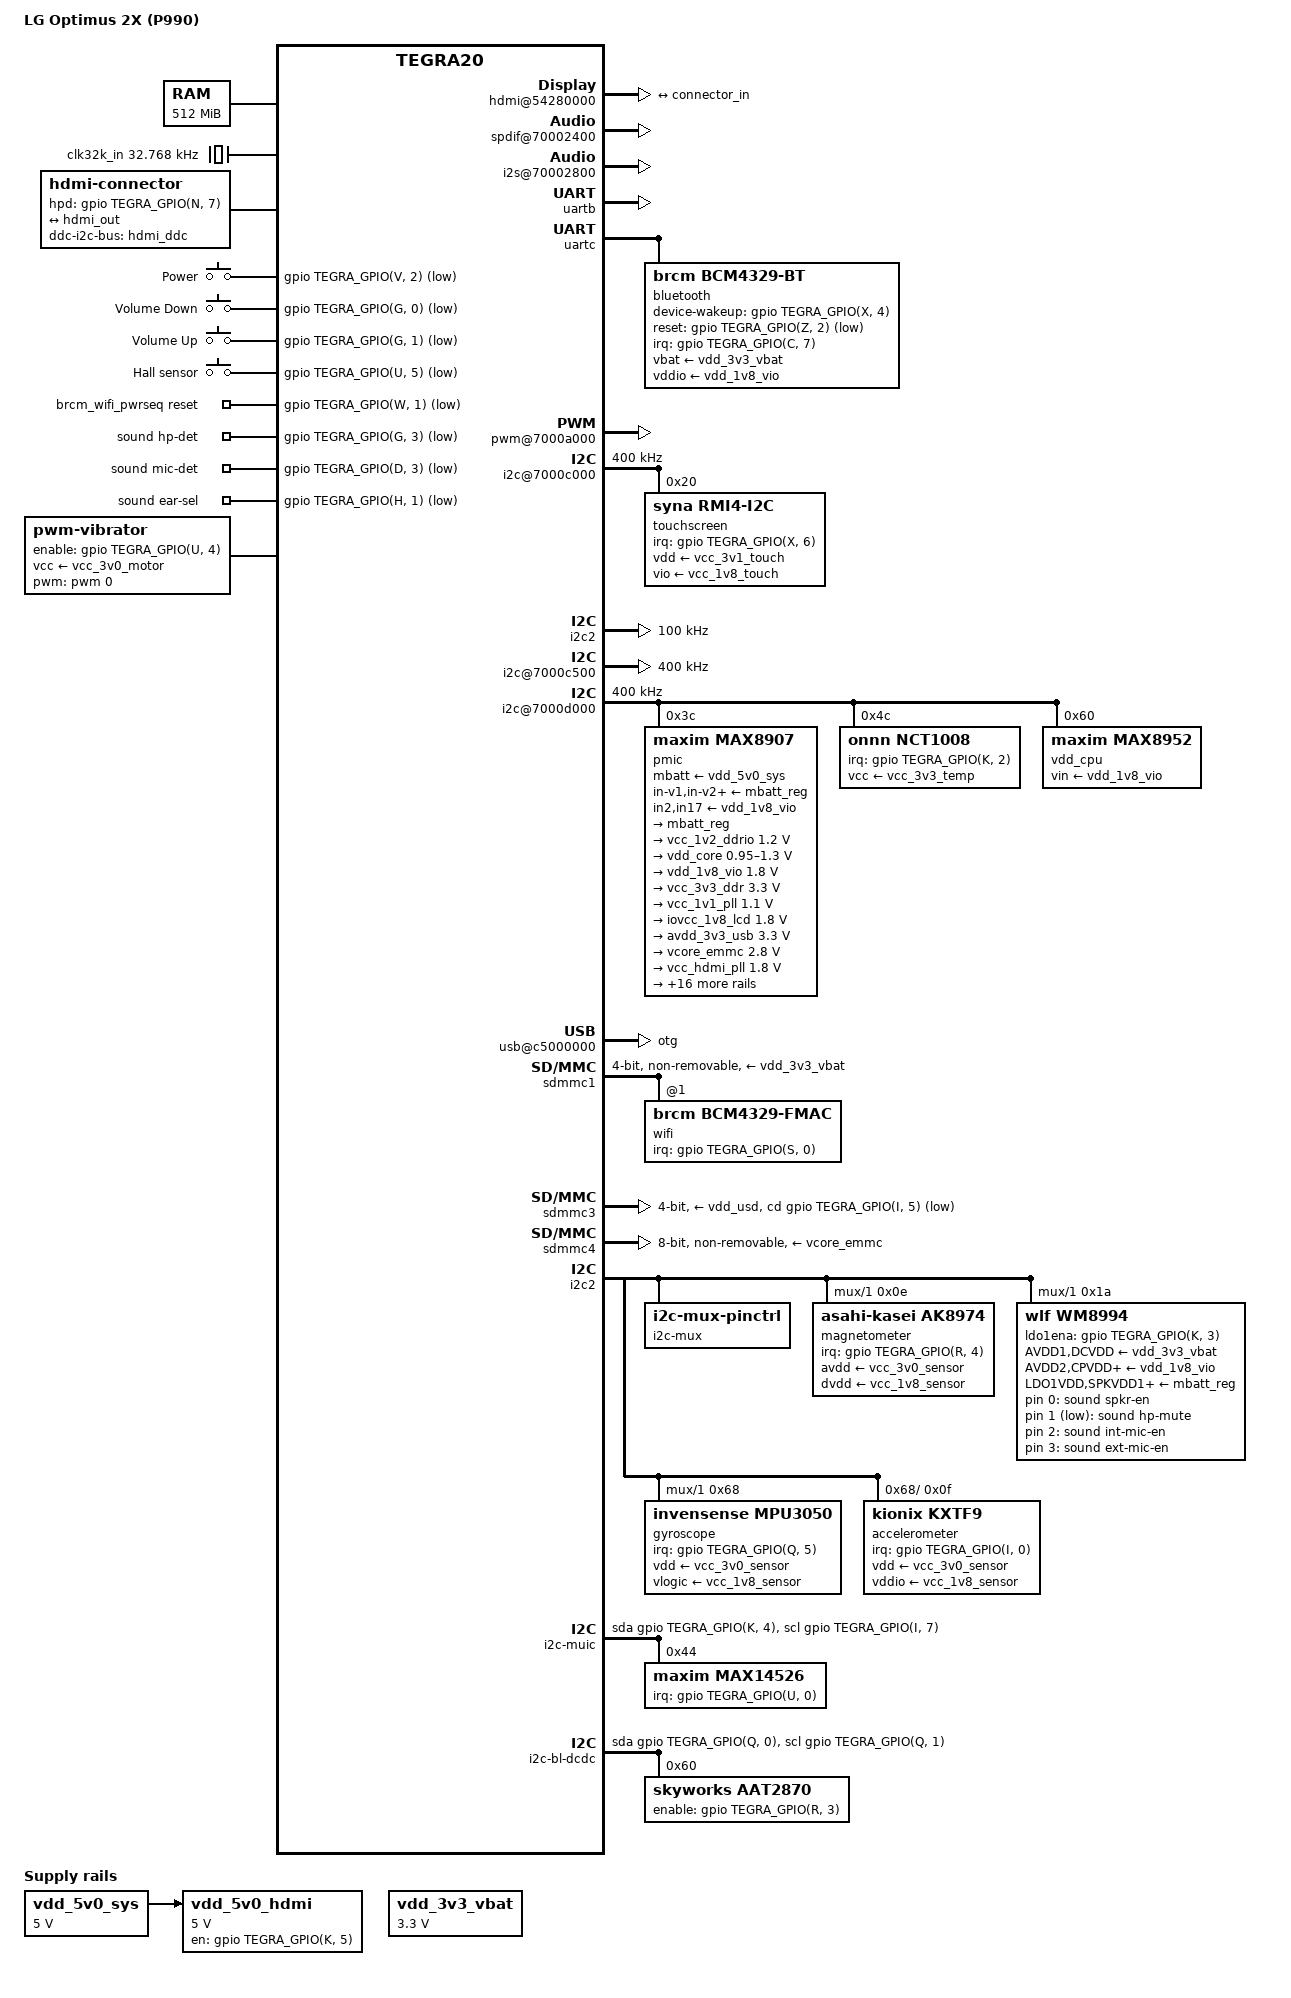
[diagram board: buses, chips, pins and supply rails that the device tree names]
// SPDX-License-Identifier: GPL-2.0
/dts-v1/;

#include <dt-bindings/input/gpio-keys.h>
#include <dt-bindings/input/input.h>
#include <dt-bindings/thermal/thermal.h>

#include "tegra20.dtsi"
#include "tegra20-cpu-opp.dtsi"
#include "tegra20-cpu-opp-microvolt.dtsi"

/ {
	model = "LG Optimus 2X (P990)";
	compatible = "lg,star", "nvidia,tegra20";
	chassis-type = "handset";

	aliases {
		mmc0 = &sdmmc4;	/* eMMC */
		mmc1 = &sdmmc3; /* uSD slot */
		mmc2 = &sdmmc1; /* Wi-Fi */

		rtc0 = &pmic;
		rtc1 = "/rtc@7000e000";

		serial0 = &uartb; /* Console */
		serial1 = &uartc; /* Bluetooth */
	};

	chosen {
		stdout-path = "serial0:115200n8";

		#address-cells = <1>;
		#size-cells = <1>;

		framebuffer@1f800000 {
			compatible = "simple-framebuffer";
//			reg = <0x1f800000 0x7d0000>;
			memory-region = <&framebuffer_zone>;
			width = <480>;
			height = <800>;
			stride = <(480 * 2)>;
			format = "r5g6b5";
			clocks = <&tegra_car TEGRA20_CLK_DISP1>;
		};
	};

	memory@0 {
		reg = <0x00000000 0x20000000>; /* 512 MB */
	};

	reserved-memory {
		#address-cells = <1>;
		#size-cells = <1>;
		ranges;

		linux,cma@0 {
			compatible = "shared-dma-pool";
			alloc-ranges = <0x00000000 0x10000000>;
			size = <0x8000000>; /* 128MiB */
			linux,cma-default;
			reusable;
		};

		framebuffer_zone: framebuffer@1f800000 {
			reg = <0x1f800000 0x7d0000>;
			no-map;
		};
	};

	host1x@50000000 {
		hdmi@54280000 {
			status = "okay";

			vdd-supply = <&vdd_3v3_hdmi>;
			pll-supply = <&vcc_hdmi_pll>;
			hdmi-supply = <&vdd_5v0_hdmi>;

			port {
				hdmi_out: endpoint {
					remote-endpoint = <&connector_in>;
				};
			};
		};
	};

//	gpio@6000d000 {
//		test-hog {
//			gpio-hog;
//			gpios = <TEGRA_GPIO(T, 7) GPIO_ACTIVE_HIGH>; // wlan wake GMI_DPD_PT7
//			output-high;
//		};
//	};

	pinmux@70000014 {
		pinctrl-names = "default";
		pinctrl-0 = <&state_default>;

		state_default: pinmux {
			crt {
				nvidia,pins = "crtp";
				nvidia,function = "crt";
			};

			dap1 {
				nvidia,pins = "dap1";
				nvidia,function = "dap1";
			};

			dap2 {
				nvidia,pins = "dap2";
				nvidia,function = "dap2";
			};

			dap3 {
				nvidia,pins = "dap3";
				nvidia,function = "dap3";
			};

			dap4 {
				nvidia,pins = "dap4";
				nvidia,function = "dap4";
			};

			displaya {
				nvidia,pins = "lcsn", "ld0", "ld1", "ld10",
						"ld11", "ld12", "ld13", "ld14",
						"ld15", "ld16", "ld17", "ld2",
						"ld3", "ld4", "ld5", "ld6",
						"ld7", "ld8", "ld9", "ldc",
						"ldi", "lhp0", "lhp1", "lhp2",
						"lhs", "lm0", "lm1", "lpp",
						"lpw0", "lpw1", "lpw2", "lsc0",
						"lsc1", "lsck", "lsda", "lsdi",
						"lspi", "lvp0", "lvp1", "lvs";
				nvidia,function = "displaya";
			};

			gmi {
				nvidia,pins = "ata", "atc", "atd", "ate",
						"gmb", "irrx", "irtx";
				nvidia,function = "gmi";
			};

			hdmi {
				nvidia,pins = "hdint";
				nvidia,function = "hdmi";
			};

			i2cp {
				nvidia,pins = "i2cp";
				nvidia,function = "i2cp";
			};

			rm {
				nvidia,pins = "rm";
				nvidia,function = "i2c1";
			};

			i2c3 {
				nvidia,pins = "dtf";
				nvidia,function = "i2c3";
			};

			kbc {
				nvidia,pins = "kbca", "kbcb", "kbcc", "kbce",
						"kbcf";
				nvidia,function = "kbc";
			};

			owr {
				nvidia,pins = "owc";
				nvidia,function = "owr";
			};

			plla-out {
				nvidia,pins = "cdev1";
				nvidia,function = "plla_out";
			};

			pllp-out4 {
				nvidia,pins = "cdev2";
				nvidia,function = "pllp_out4";
			};

			pwm {
				nvidia,pins = "gpu";
				nvidia,function = "pwm";
			};

			pwr-on {
				nvidia,pins = "pmc";
				nvidia,function = "pwr_on";
			};

			rtck {
				nvidia,pins = "gpu7";
				nvidia,function = "rtck";
			};

			sdio1 {
				nvidia,pins = "sdio1";
				nvidia,function = "sdio1";
			};

			sdio2 {
				nvidia,pins = "kbcd";
				nvidia,function = "sdio2";
			};

			sdio3 {
				nvidia,pins = "sdb", "sdc", "sdd", "slxa",
						"slxd", "slxk", "slxc";
				nvidia,function = "sdio3";
			};

			sdio4 {
				nvidia,pins = "atb", "gma", "gme";
				nvidia,function = "sdio4";
			};

			spi1 {
				nvidia,pins = "uda";
				nvidia,function = "spi1";
			};

			spi2 {
				nvidia,pins = "spia", "spib", "spic";
				nvidia,function = "spi2";
			};

			spi2-alt {
				nvidia,pins = "spid", "spie", "spig", "spih";
				nvidia,function = "spi2_alt";
			};

			uarta {
				nvidia,pins = "uaa", "uab";
				nvidia,function = "uarta";
			};

			uartc {
				nvidia,pins = "uca", "ucb";
				nvidia,function = "uartc";
			};

			uartd {
				nvidia,pins = "gmc";
				nvidia,function = "uartd";
			};

			vi {
				nvidia,pins = "dtc", "dtd";
				nvidia,function = "vi";
			};

			vi-sensor-clk {
				nvidia,pins = "csus";
				nvidia,function = "vi_sensor_clk";
			};

#if 0 // TODO: adjust to kernel
			conf-lsda {
				nvidia,pins = "lsda", "owc";
				nvidia,pull = <TEGRA_PIN_PULL_UP>;
				nvidia,tristate = <TEGRA_PIN_ENABLE>;
			};

			conf-ata {
				nvidia,pins = "ata", "dtf", "gmb", "gmc",
						"i2cp", "irrx", "kbca", "kbcc",
						"kbcd", "kbce", "kbcf", "lcsn",
						"ldc", "pta", "rm", "sdc",
						"sdd", "spie", "spif", "spig",
						"spih", "uaa", "uad", "uca",
						"ucb", "pmce";
				nvidia,pull = <TEGRA_PIN_PULL_UP>;
				nvidia,tristate = <TEGRA_PIN_DISABLE>;
			};

			conf-crtp {
				nvidia,pins = "crtp", "gpv", "hdint", "lhs",
						"lm0", "lpw0", "lpw1", "lpw2",
						"lsc1", "lsck", "lspi", "lvs",
						"slxa", "slxd", "spdi";
				nvidia,pull = <TEGRA_PIN_PULL_NONE>;
				nvidia,tristate = <TEGRA_PIN_ENABLE>;
			};

			conf-atb {
				nvidia,pins = "atb", "atc", "atd", "ate",
						"cdev1", "cdev2", "csus", "dap1",
						"dap2", "dap3", "dap4", "ddc",
						"dta", "dtb", "dte", "gma",
						"gmd", "gme", "gpu", "gpu7",
						"irtx", "kbcb", "lm1", "lsc0",
						"lsdi", "lvp0", "pmc", "sdb",
						"sdio1", "slxc", "spdo", "spia",
						"spib", "spic", "uab", "uac",
						"uda", "ck32", "ddrc", "pmca",
						"pmcb", "pmcc", "pmcd", "xm2c",
						"xm2d";
				nvidia,pull = <TEGRA_PIN_PULL_NONE>;
				nvidia,tristate = <TEGRA_PIN_DISABLE>;
			};

			conf-dtc {
				nvidia,pins = "dtc", "dtd";
				nvidia,pull = <TEGRA_PIN_PULL_DOWN>;
				nvidia,tristate = <TEGRA_PIN_ENABLE>;
			};

			conf-ld0 {
				nvidia,pins = "ld0", "ld1", "ld2", "ld3",
						"ld4", "ld5", "ld6", "ld7",
						"ld8", "ld9", "ld10", "ld11",
						"ld12", "ld13", "ld14", "ld15",
						"ld16", "ld17", "ldi", "lhp0",
						"lhp1", "lhp2", "lpp", "lvp1",
						"slxk", "spid";
				nvidia,pull = <TEGRA_PIN_PULL_DOWN>;
				nvidia,tristate = <TEGRA_PIN_DISABLE>;
			};
#endif

			drive-sdio1 {
				nvidia,pins = "drive_sdio1", "drive_vi1";
				nvidia,high-speed-mode = <TEGRA_PIN_DISABLE>;
				nvidia,schmitt = <TEGRA_PIN_ENABLE>;
				nvidia,low-power-mode = <TEGRA_PIN_LP_DRIVE_DIV_1>;
				nvidia,pull-down-strength = <31>;
				nvidia,pull-up-strength = <31>;
				nvidia,slew-rate-rising = <TEGRA_PIN_SLEW_RATE_SLOWEST>;
				nvidia,slew-rate-falling = <TEGRA_PIN_SLEW_RATE_SLOWEST>;
			};

			drive-i2c {
				nvidia,pins = "drive_dbg", "drive_ddc", "drive_at1",
						"drive_vi2", "drive_ao1";
				nvidia,high-speed-mode = <TEGRA_PIN_DISABLE>;
				nvidia,schmitt = <TEGRA_PIN_ENABLE>;
				nvidia,low-power-mode = <TEGRA_PIN_LP_DRIVE_DIV_1>;
				nvidia,pull-down-strength = <31>;
				nvidia,pull-up-strength = <31>;
				nvidia,slew-rate-rising = <TEGRA_PIN_SLEW_RATE_FASTEST>;
				nvidia,slew-rate-falling = <TEGRA_PIN_SLEW_RATE_FASTEST>;
			};

//			drive-dap {
//				nvidia,pins = "drive_dap2", "drive_dap3";
//				nvidia,high-speed-mode = <TEGRA_PIN_DISABLE>;
//				nvidia,schmitt = <TEGRA_PIN_ENABLE>;
//				nvidia,low-power-mode = <TEGRA_PIN_LP_DRIVE_DIV_1>;
//				nvidia,pull-down-strength = <46>; // TODO: 46 is too much, bit field is 0:4
//				nvidia,pull-up-strength = <46>; // TODO: 46 is too much, bit field is 0:4
//				nvidia,slew-rate-rising = <TEGRA_PIN_SLEW_RATE_SLOWEST>;
//				nvidia,slew-rate-falling = <TEGRA_PIN_SLEW_RATE_SLOWEST>;
//			};
		};

		state_i2cmux_ddc: pinmux-i2cmux-ddc {
			ddc {
				nvidia,pins = "ddc";
				nvidia,function = "i2c2";
			};

			pta {
				nvidia,pins = "pta";
				nvidia,function = "rsvd4";
			};
		};

		state_i2cmux_idle: pinmux-i2cmux-idle {
			ddc {
				nvidia,pins = "ddc";
				nvidia,function = "rsvd4";
			};

			pta {
				nvidia,pins = "pta";
				nvidia,function = "rsvd4";
			};
		};

		state_i2cmux_pta: pinmux-i2cmux-pta {
			ddc {
				nvidia,pins = "ddc";
				nvidia,function = "rsvd4";
			};

			pta {
				nvidia,pins = "pta";
				nvidia,function = "i2c2";
			};
		};
	};

	spdif@70002400 {
		status = "okay";

		nvidia,fixed-parent-rate;
	};

	i2s@70002800 {
		status = "okay";

		nvidia,fixed-parent-rate;
	};

	uartb: serial@70006040 {
		/delete-property/ dmas;
		/delete-property/ dma-names;
		status = "okay";
	};

	uartc: serial@70006200 {
		compatible = "nvidia,tegra20-hsuart";
		reset-names = "serial";
		/delete-property/ reg-shift;
		status = "okay";

		nvidia,adjust-baud-rates = <0 9600 100>,
					   <9600 115200 200>,
					   <1000000 4000000 136>;

		/* Samsung SWB-B25 BCM4329B1 */
		bluetooth {
			compatible = "brcm,bcm4329-bt";
			max-speed = <4000000>;

			clocks = <&tegra_pmc TEGRA_PMC_CLK_BLINK>;
			clock-names = "txco";

			interrupt-parent = <&gpio>;
			interrupts = <TEGRA_GPIO(C, 7) IRQ_TYPE_EDGE_RISING>;
			interrupt-names = "host-wakeup";

			device-wakeup-gpios = <&gpio TEGRA_GPIO(X, 4) GPIO_ACTIVE_HIGH>;
			reset-gpios = <&gpio TEGRA_GPIO(Z, 2) GPIO_ACTIVE_LOW>;

			vbat-supply  = <&vdd_3v3_vbat>; // TODO: check with v_powerrail
			vddio-supply = <&vdd_1v8_vio>;
		};
	};

	pwm@7000a000 {
		status = "okay";
	};

	i2c@7000c000 {
		status = "okay";
		clock-frequency = <400000>;

		/* Synaptics RMI4 TM1576 touchcreen */
		touchscreen@20 {
			compatible = "syna,rmi4-i2c";
			reg = <0x20>;

			interrupt-parent = <&gpio>;
			interrupts = <TEGRA_GPIO(X, 6) IRQ_TYPE_EDGE_FALLING>;

			vdd-supply = <&vcc_3v1_touch>;
			vio-supply = <&vcc_1v8_touch>;

			syna,reset-delay-ms = <20>; // TODO: remove or adjust
			syna,startup-delay-ms = <200>; // TODO: remove or adjust

			#address-cells = <1>;
			#size-cells = <0>;

			rmi4-f01@1 {
				reg = <0x1>;
				syna,nosleep-mode = <1>;
			};

			rmi4-f11@11 {
				reg = <0x11>;
				syna,sensor-type = <1>;
			};
		};
	};

	i2c2: i2c@7000c400 {
		status = "okay";
		clock-frequency = <100000>;
	};

	i2c@7000c500 {
		status = "okay";
		clock-frequency = <400000>;

#if 0 // TODO: is not even detected
		camera-pmic@7d {
			compatible = "ti,lp8720";
			reg = <0x7d>;

			enable-gpios = <&gpio TEGRA_GPIO(R, 6) GPIO_ACTIVE_HIGH>;

			vt_1v8_front: ldo1 {
				regulator-name = "vio_1v8_dvdd";
				regulator-min-microvolt = <1800000>;
				regulator-max-microvolt = <1800000>;
			};

			vt_2v8_front: ldo2 {
				regulator-name = "vt_2v8_avdd";
				regulator-min-microvolt = <2800000>;
				regulator-max-microvolt = <2800000>;
			};

			vdd_2v7_rear: ldo3 {
				regulator-name = "vcam_2v8_avdd";
				regulator-min-microvolt = <2700000>;
				regulator-max-microvolt = <2800000>;
			};

			vio_1v8_rear: ldo4 {
				regulator-name = "vcam_1v8_vio";
				regulator-min-microvolt = <1800000>;
				regulator-max-microvolt = <1800000>;
			};

			vcc_focuser: ldo5 {
				regulator-name = "vcam_2v8_af";
				regulator-min-microvolt = <2800000>;
				regulator-max-microvolt = <2800000>;
			};

			vdd_1v2_rear: buck {
				regulator-name = "vcam_1v2_vdig";
				regulator-min-microvolt = <1200000>;
				regulator-max-microvolt = <1200000>;
			};
		};
#endif
	};

	i2c@7000d000 {
		status = "okay";
		clock-frequency = <400000>;

		pmic: max8907@3c {
			compatible = "maxim,max8907";
			reg = <0x3c>;
			interrupts = <GIC_SPI 86 IRQ_TYPE_LEVEL_HIGH>;

			maxim,system-power-controller;

			mbatt-supply = <&vdd_5v0_sys>;
			in-v1-supply = <&mbatt_reg>;
			in-v2-supply = <&mbatt_reg>;
			in-v3-supply = <&mbatt_reg>;
			in1-supply = <&mbatt_reg>;
			in2-supply = <&vdd_1v8_vio>;
			in3-supply = <&mbatt_reg>;
			in4-supply = <&mbatt_reg>;
			in5-supply = <&mbatt_reg>;
			in6-supply = <&mbatt_reg>;
			in7-supply = <&mbatt_reg>;
			in8-supply = <&mbatt_reg>;
			in9-supply = <&mbatt_reg>;
			in10-supply = <&mbatt_reg>;
			in11-supply = <&mbatt_reg>;
			in12-supply = <&mbatt_reg>;
			in13-supply = <&mbatt_reg>;
			in14-supply = <&mbatt_reg>;
			in15-supply = <&mbatt_reg>;
			in16-supply = <&mbatt_reg>;
			in17-supply = <&vdd_1v8_vio>;
			in18-supply = <&mbatt_reg>;
			in19-supply = <&mbatt_reg>;
			in20-supply = <&mbatt_reg>;

			regulators {
				// TODO: is mbatt actually powerrail's source or powerrail is vin of mbatt?
				mbatt_reg: mbatt {
					regulator-name = "v_powerrail";
					regulator-always-on;
				};

				sd1 {
					regulator-name = "vcc_1v2_ddrio";
					regulator-min-microvolt = <1200000>;
					regulator-max-microvolt = <1200000>;
					regulator-always-on;
					regulator-boot-on;
				};

				vdd_core: sd2 {
					regulator-name = "vdd_core";
					regulator-min-microvolt = <950000>;
					regulator-max-microvolt = <1300000>;
					regulator-coupled-with = <&vdd_rtc &vdd_cpu>;
					regulator-coupled-max-spread = <170000 550000>;
					regulator-always-on;
					regulator-boot-on;

					nvidia,tegra-core-regulator;
				};

				vdd_1v8_vio: sd3 {
					regulator-name = "vcc_1v8_io";
					regulator-min-microvolt = <1800000>;
					regulator-max-microvolt = <1800000>;
					regulator-always-on;
					regulator-boot-on;
				};

				ldo1 {
					regulator-name = "vcc_3v3_ddr";
					regulator-min-microvolt = <3300000>;
					regulator-max-microvolt = <3300000>;
					regulator-always-on;
					regulator-boot-on;
				};

				ldo2 {
					regulator-name = "vcc_1v1_pll";
					regulator-min-microvolt = <1100000>;
					regulator-max-microvolt = <1100000>;
					regulator-always-on;
					regulator-boot-on;
				};

				iovcc_1v8_lcd: ldo3 {
					regulator-name = "vcc_1v8_lcd";
					regulator-min-microvolt = <1800000>;
					regulator-max-microvolt = <1800000>;
					regulator-always-on; // TODO: remove when ready
					regulator-boot-on;
				};

				avdd_3v3_usb: ldo4 {
					regulator-name = "avdd_3v3_usb";
					regulator-min-microvolt = <3300000>;
					regulator-max-microvolt = <3300000>;
					regulator-always-on;
					regulator-boot-on;
				};

				vcore_emmc: ldo5 {
					regulator-name = "vcc_2v8_emmc";
					regulator-min-microvolt = <2800000>;
					regulator-max-microvolt = <2800000>;
					regulator-boot-on;
				};

				vcc_hdmi_pll: ldo6 {
					regulator-name = "vcc_hdmi_pll";
					regulator-min-microvolt = <1800000>;
					regulator-max-microvolt = <1800000>;
				};

				vcc_3v0_sensor: ldo7 {
					regulator-name = "vcc_3v0_sensor";
					regulator-min-microvolt = <3000000>;
					regulator-max-microvolt = <3000000>;
					regulator-boot-on;
				};

				vcc_1v8_sensor: ldo8 {
					regulator-name = "vcc_1v8_sensor";
					regulator-min-microvolt = <1800000>;
					regulator-max-microvolt = <1800000>;
					regulator-boot-on;
				};

				ldo9 {
					regulator-name = "vcc_3v3_fuse";
					regulator-min-microvolt = <3300000>;
					regulator-max-microvolt = <3300000>;
				};

				vcc_3v1_touch: ldo10 {
					regulator-name = "vcc_3v1_touch";
					regulator-min-microvolt = <3100000>;
					regulator-max-microvolt = <3100000>;
					regulator-boot-on;
				};

				vdd_3v3_hdmi: ldo11 {
					regulator-name = "vdd_3v3_hdmi";
					regulator-min-microvolt = <3300000>;
					regulator-max-microvolt = <3300000>;
				};

				vdd_usd: ldo12 {
					regulator-name = "vcc_2v8_sdio";
					regulator-min-microvolt = <2800000>;
					regulator-max-microvolt = <2800000>;
					regulator-boot-on;
				};

				vcc_3v0_motor: ldo13 {
					regulator-name = "vcc_3v0_motor";
					regulator-min-microvolt = <3000000>;
					regulator-max-microvolt = <3000000>;
				};

				vcc_2v8_lcd: ldo14 {
					regulator-name = "vcc_2v8_lcd";
					regulator-min-microvolt = <2800000>;
					regulator-max-microvolt = <2800000>;
					regulator-always-on; // TODO: remove when ready
					regulator-boot-on;
				};

				vcc_3v3_temp: ldo15 {
					regulator-name = "vcc_3v3_temp";
					regulator-min-microvolt = <3300000>;
					regulator-max-microvolt = <3300000>;
					regulator-boot-on;
				};

//				vcc_2v8_keypad: ldo16 {
//					regulator-name = "vcc_2v8_keypad";
//					regulator-min-microvolt = <2800000>;
//					regulator-max-microvolt = <2800000>;
//					regulator-always-on; // TODO: remove when ready
//					regulator-boot-on;
//				};

				avdd_dsi_csi: ldo17 {
					regulator-name = "vcc_1v2_mipi";
					regulator-min-microvolt = <1200000>;
					regulator-max-microvolt = <1200000>;
				};

				ldo18 {
					regulator-name = "vcc_1v8_vi";
					regulator-min-microvolt = <1800000>;
					regulator-max-microvolt = <1800000>;
				};

				vcc_1v8_touch: ldo19 {
					regulator-name = "vcc_1v8_touch";
					regulator-min-microvolt = <1800000>;
					regulator-max-microvolt = <1800000>;
					regulator-boot-on;
				};

				/* LDO20 is not used */

				out5v {
					regulator-name = "usb0_vbus_reg";
					regulator-min-microvolt = <5000000>;
					regulator-max-microvolt = <5000000>;
				};

//				out33v {
//					regulator-name = "out33v"; // Grounded according to TRM
//				};

				bbat {
					regulator-name = "vcc_bbat";
				};

				vdd_rtc: sdby {
					regulator-name = "vcc_rtc";
					regulator-min-microvolt = <950000>;
					regulator-max-microvolt = <1300000>;
					regulator-coupled-with = <&vdd_core &vdd_cpu>;
					regulator-coupled-max-spread = <170000 550000>;
					regulator-always-on;
					regulator-boot-on;

					nvidia,tegra-rtc-regulator;
				};

				vrtc {
					regulator-name = "vrtc"; // Grounded according to TRM ? not booting
				};
			};
		};

		// TODO: max8907 ADC cell at 0x47 used for battery temperature monitoring

		nct1008: temperature-sensor@4c {
			compatible = "onnn,nct1008";
			reg = <0x4c>;

			interrupt-parent = <&gpio>;
			interrupts = <TEGRA_GPIO(K, 2) IRQ_TYPE_EDGE_FALLING>;

//			ULPI_DATA5_PO6 is TEMP_PWROFF_N according to TRM

			vcc-supply = <&vcc_3v3_temp>;
			#thermal-sensor-cells = <1>;
		};

		vdd_cpu: cpu-regulator@60 {
			compatible = "maxim,max8952";
			reg = <0x60>;

			max8952,default-mode = <1>;
			max8952,dvs-mode-microvolt = <1000000>, <1000000>,
						     <1000000>, <1000000>;

			max8952,ramp-speed = <0>; /* 32mV/us */
			max8952,sync-freq = <0>; /* 26 MHz */

			vin-supply = <&vdd_1v8_vio>; // TODO: or v_powerrail ?

			regulator-name = "vdd_cpu";
			regulator-min-microvolt = <750000>;
			regulator-max-microvolt = <1125000>;
			regulator-coupled-with = <&vdd_core &vdd_rtc>;
			regulator-coupled-max-spread = <550000 550000>;
			regulator-always-on;
			regulator-boot-on;

			nvidia,tegra-cpu-regulator;
		};
	};

	pmc@7000e400 {
		nvidia,suspend-mode = <1>;
		nvidia,cpu-pwr-good-time = <2000>;
		nvidia,cpu-pwr-off-time = <100>;
		nvidia,core-pwr-good-time = <0x7e7e 0x7e7e>;
		nvidia,core-pwr-off-time = <0xf>;
		nvidia,core-power-req-active-high;
		nvidia,sys-clock-req-active-high;
		core-supply = <&vdd_core>;
	};

	memory-controller@7000f400 {
		nvidia,use-ram-code;

		emc-tables@0 {
			reg = <0x0>;

			#address-cells = <1>;
			#size-cells = <0>;

			/* Hynix 300MHz */
			lpddr2 {
				compatible = "hynix,h8tbr00u0mlr-odm", "jedec,lpddr2-s4";
				revision-id = <0 0>;
				density = <2048>;
				io-width = <32>;
			};

			emc-table@25000 {
				reg = <25000>;
				compatible = "nvidia,tegra20-emc-table";
				clock-frequency = <25000>;
				nvidia,emc-registers = < 0x00000002 0x00000006
					0x00000003 0x00000003 0x00000006 0x00000004
					0x00000002 0x0000000b 0x00000003 0x00000003
					0x00000002 0x00000002 0x00000003 0x00000005
					0x00000004 0x00000008 0x0000000c 0x0000004d
					0x00000000 0x00000003 0x00000003 0x00000003
					0x00000008 0x00000001 0x0000000b 0x00000004
					0x00000003 0x00000008 0x00000004 0x00000008
					0x00000002 0x00000068 0x00000000 0x00000003
					0x00000000 0x00000000 0x00000282 0xa06a04ae
					0x00070000 0x00000000 0x00000000 0x00000003
					0x00000000 0x00000000 0x00000000 0x00000000 >;
			};

			emc-table@50000 {
				reg = <50000>;
				compatible = "nvidia,tegra20-emc-table";
				clock-frequency = <50000>;
				nvidia,emc-registers = < 0x00000003 0x00000007
					0x00000003 0x00000003 0x00000006 0x00000004
					0x00000002 0x0000000b 0x00000003 0x00000003
					0x00000002 0x00000002 0x00000003 0x00000006
					0x00000004 0x00000008 0x0000000c 0x0000009f
					0x00000000 0x00000003 0x00000003 0x00000003
					0x00000008 0x00000001 0x0000000b 0x00000007
					0x00000003 0x00000008 0x00000004 0x00000008
					0x00000002 0x000000d0 0x00000000 0x00000000
					0x00000000 0x00000000 0x00000282 0xa06a04ae
					0x007c3010 0x00000000 0x00000000 0x00000005
					0x00000000 0x00000000 0x00000000 0x00000000 >;
			};

			emc-table@75000 {
				reg = <75000>;
				compatible = "nvidia,tegra20-emc-table";
				clock-frequency = <75000>;
				nvidia,emc-registers = < 0x00000005 0x0000000a
					0x00000004 0x00000003 0x00000006 0x00000004
					0x00000002 0x0000000b 0x00000003 0x00000003
					0x00000002 0x00000002 0x00000003 0x00000006
					0x00000004 0x00000008 0x0000000c 0x000000ff
					0x00000000 0x00000003 0x00000003 0x00000003
					0x00000008 0x00000001 0x0000000b 0x0000000b
					0x00000003 0x00000008 0x00000004 0x00000008
					0x00000002 0x00000138 0x00000000 0x00000000
					0x00000000 0x00000000 0x00000282 0xa06804ae
					0x007c8010 0x00000000 0x00000000 0x00000007
					0x00000000 0x00000000 0x00000000 0x00000000 >;
			};

			emc-table@150000 {
				reg = <150000>;
				compatible = "nvidia,tegra20-emc-table";
				clock-frequency = <150000>;
				nvidia,emc-registers = < 0x00000009 0x00000014
					0x00000007 0x00000003 0x00000006 0x00000004
					0x00000002 0x0000000b 0x00000003 0x00000003
					0x00000002 0x00000002 0x00000003 0x00000006
					0x00000004 0x00000008 0x0000000c 0x0000021f
					0x00000000 0x00000003 0x00000003 0x00000003
					0x00000008 0x00000001 0x0000000b 0x00000015
					0x00000003 0x00000008 0x00000004 0x00000008
					0x00000002 0x00000270 0x00000000 0x00000001
					0x00000000 0x00000000 0x00000282 0xa04c04ae
					0x007e0010 0x00000000 0x00000000 0x0000000e
					0x00000000 0x00000000 0x00000000 0x00000000 >;
			};

			emc-table@300000 {
				reg = <300000>;
				compatible = "nvidia,tegra20-emc-table";
				clock-frequency = <300000>;
				nvidia,emc-registers = < 0x00000012 0x00000027
					0x0000000d 0x00000006 0x00000007 0x00000005
					0x00000003 0x0000000b 0x00000006 0x00000006
					0x00000003 0x00000003 0x00000003 0x00000007
					0x00000004 0x00000009 0x0000000d 0x0000045f
					0x00000000 0x00000004 0x00000004 0x00000006
					0x00000008 0x00000001 0x0000000f 0x0000002a
					0x00000003 0x0000000f 0x00000007 0x00000007
					0x00000002 0x000004e0 0x00000006 0x00000002
					0x00000000 0x00000000 0x00000282 0xe03c048b
					0x007E0010 0x00000000 0x00000000 0x0000001b
					0x00000000 0x00000000 0x00000000 0x00000000 >;
			};
		};
	};

	/* MicroUSB */
	usb@c5000000 {
		compatible = "nvidia,tegra20-udc";
		status = "okay";
		dr_mode = "otg";
		extcon = <&max14526>, <&max14526>;
	};

	usb-phy@c5000000 {
		status = "okay";
		dr_mode = "otg";
		nvidia,xcvr-setup = <15>;
		nvidia,xcvr-lsfslew = <2>;
		nvidia,xcvr-lsrslew = <2>;
		vbus-supply = <&avdd_3v3_usb>;
	};

	sdmmc1: mmc@c8000000 {
		status = "okay";

		#address-cells = <1>;
		#size-cells = <0>;

		assigned-clocks = <&tegra_car TEGRA20_CLK_SDMMC1>;
		assigned-clock-parents = <&tegra_car TEGRA20_CLK_PLL_P>;
		assigned-clock-rates = <48000000>;

		max-frequency = <48000000>;
		keep-power-in-suspend;
		bus-width = <4>;
		non-removable;

		mmc-pwrseq = <&brcm_wifi_pwrseq>;
		vmmc-supply = <&vdd_3v3_vbat>; // TODO: check with v_powerrail
		vqmmc-supply = <&vdd_1v8_vio>;

		/* Samsung SWB-B25 BCM4329B1 */
		wifi@1 {
			compatible = "brcm,bcm4329-fmac";
			reg = <1>;

			interrupt-parent = <&gpio>;
			interrupts = <TEGRA_GPIO(S, 0) IRQ_TYPE_LEVEL_HIGH>;
			interrupt-names = "host-wake";

			// wlan wake GMI_DPD_PT7
		};
	};

	sdmmc3: mmc@c8000400 {
		status = "okay";
		bus-width = <4>;

		cd-gpios = <&gpio TEGRA_GPIO(I, 5) GPIO_ACTIVE_LOW>;
		disable-wp;

		vmmc-supply = <&vdd_usd>;
		vqmmc-supply = <&vdd_1v8_vio>;
	};

	sdmmc4: mmc@c8000600 {
		status = "okay";
		bus-width = <8>;
		non-removable;

		vmmc-supply = <&vcore_emmc>;
		vqmmc-supply = <&vdd_1v8_vio>;
	};

	/* 32KHz oscillator which is used by PMC */
	clk32k_in: clock-32k-in {
		compatible = "fixed-clock";
		#clock-cells = <0>;
		clock-frequency = <32768>;
		clock-output-names = "ref-oscillator";
	};

	connector {
		compatible = "hdmi-connector";
		type = "d";

		hpd-gpios = <&gpio TEGRA_GPIO(N, 7) GPIO_ACTIVE_HIGH>;
		ddc-i2c-bus = <&hdmi_ddc>;

		port {
			connector_in: endpoint {
				remote-endpoint = <&hdmi_out>;
			};
		};
	};

	cpus {
		cpu0: cpu@0 {
			cpu-supply = <&vdd_cpu>;
			operating-points-v2 = <&cpu0_opp_table>;
			#cooling-cells = <2>;
		};

		cpu1: cpu@1 {
			cpu-supply = <&vdd_cpu>;
			operating-points-v2 = <&cpu0_opp_table>;
			#cooling-cells = <2>;
		};
	};

	gpio-keys {
		compatible = "gpio-keys";

		key-power {
			label = "Power";
			gpios = <&gpio TEGRA_GPIO(V, 2) GPIO_ACTIVE_LOW>;
			linux,code = <KEY_POWER>;
			debounce-interval = <10>;
			wakeup-event-action = <EV_ACT_ASSERTED>;
			wakeup-source;
		};

		key-volume-down {
			label = "Volume Down";
			gpios = <&gpio TEGRA_GPIO(G, 0) GPIO_ACTIVE_LOW>;
			linux,code = <KEY_VOLUMEDOWN>;
			debounce-interval = <10>;
			wakeup-event-action = <EV_ACT_ASSERTED>;
		};

		key-volume-up {
			label = "Volume Up";
			gpios = <&gpio TEGRA_GPIO(G, 1) GPIO_ACTIVE_LOW>;
			linux,code = <KEY_VOLUMEUP>;
			debounce-interval = <10>;
			wakeup-event-action = <EV_ACT_ASSERTED>;
		};

		// TODO: check
		switch-hall-sensor {
			label = "Hall sensor";
			gpios = <&gpio TEGRA_GPIO(U, 5) GPIO_ACTIVE_LOW>;
			linux,input-type = <EV_SW>;
			linux,code = <SW_LID>;
			debounce-interval = <500>;
			wakeup-event-action = <EV_ACT_ASSERTED>;
			wakeup-source;
		};
	};

	i2c-mux {
		compatible = "i2c-mux-pinctrl";
		#address-cells = <1>;
		#size-cells = <0>;

		i2c-parent = <&i2c2>;

		pinctrl-names = "ddc", "pta", "idle";
		pinctrl-0 = <&state_i2cmux_ddc>;
		pinctrl-1 = <&state_i2cmux_pta>;
		pinctrl-2 = <&state_i2cmux_idle>;

		hdmi_ddc: i2c@0 {
			reg = <0>;
			#address-cells = <1>;
			#size-cells = <0>;
		};

		gen2_i2c: i2c@1 {
			reg = <1>;
			#address-cells = <1>;
			#size-cells = <0>;

			/* Aichi AMI304 digital compass */
			magnetometer@e {
				compatible = "asahi-kasei,ak8974";
				reg = <0x0e>;

				interrupt-parent = <&gpio>;
				interrupts = <TEGRA_GPIO(R, 4) IRQ_TYPE_EDGE_RISING>;

				avdd-supply = <&vcc_3v0_sensor>;
				dvdd-supply = <&vcc_1v8_sensor>;

				mount-matrix =   "0", "-1",  "0",
						"-1",  "0",  "0",
						 "0",  "0", "-1";
			};

			wm8994: audio-codec@1a {
				compatible = "wlf,wm8994";
				reg = <0x1a>;

				clocks = <&tegra_car TEGRA20_CLK_CDEV1>,
					 <&tegra_car TEGRA20_CLK_CDEV2>;
				clock-names = "MCLK1", "MCLK2";

				gpio-controller;
				#gpio-cells = <2>;

				// TODO: no interrupt?

				AVDD1-supply = <&vdd_3v3_vbat>; // TODO: grounded
				AVDD2-supply = <&vdd_1v8_vio>;
				CPVDD-supply = <&vdd_1v8_vio>;
				DBVDD-supply = <&vdd_1v8_vio>;
				DCVDD-supply = <&vdd_3v3_vbat>; // TODO: grounded

				LDO1VDD-supply = <&mbatt_reg>;
				LDO2VDD-supply = <&vdd_1v8_vio>;

				SPKVDD1-supply = <&mbatt_reg>;
				SPKVDD2-supply = <&mbatt_reg>;

				wlf,gpio-cfg = < 0xa101 0xa101 0x8100 0x8100 0x8100
						 0xa101 0x0100 0x8100 0x0100 0x0100
						 0x0100 >;

				wlf,ldo1ena =  <&gpio TEGRA_GPIO(K, 3) GPIO_ACTIVE_HIGH>;
				wlf,ldoena-always-driven;

				#sound-dai-cells = <0>;
			};

#if 0
			light-sensor@44 {
				compatible = "sharp,gp2ap002s00f";
				reg = <0x44>;

//				interrupt-parent = <&gpio>;
//				interrupts = <18 IRQ_TYPE_EDGE_FALLING>;

				vdd-supply = <&vcc_3v0_sensor>;
				vio-supply = <&vcc_1v8_sensor>;

				sharp,proximity-far-hysteresis = /bits/ 8 <0x2f>;
				sharp,proximity-close-hysteresis = /bits/ 8 <0x0f>;

//				io-channels = <&adc_channel>;
//				io-channel-names = "alsout";
			};

// BH1621FVC ALS //
#endif

			gyroscope@68 {
				compatible = "invensense,mpu3050";
				reg = <0x68>;

				interrupt-parent = <&gpio>;
				interrupts = <TEGRA_GPIO(Q, 5) IRQ_TYPE_EDGE_RISING>;

				vdd-supply = <&vcc_3v0_sensor>;
				vlogic-supply = <&vcc_1v8_sensor>;

				mount-matrix =  "-1",  "0",  "0",
						 "0", "-1",  "0",
						 "0",  "0",  "1";

				i2c-gate {
					#address-cells = <1>;
					#size-cells = <0>;

					accelerometer@f {
						compatible = "kionix,kxtf9";
						reg = <0xf>;

						interrupt-parent = <&gpio>;
						interrupts = <TEGRA_GPIO(I, 0) IRQ_TYPE_EDGE_RISING>;

						vdd-supply = <&vcc_3v0_sensor>;
						vddio-supply = <&vcc_1v8_sensor>;

						mount-matrix =   "0",  "1",  "0",
								"-1",  "0",  "0",
								 "0",  "0", "-1";
					};
				};
			};
		};
	};

// MAX17040G - fuel gauge on FX_I2C?? -- baseband i2c?? WTF?
// RT9524 DFN - charger Charger RICHTEK TECHNOLOGY CORP.

	i2c-muic {
		compatible = "i2c-gpio";

		sda-gpios = <&gpio TEGRA_GPIO(K, 4) (GPIO_ACTIVE_HIGH | GPIO_OPEN_DRAIN)>;
		scl-gpios = <&gpio TEGRA_GPIO(I, 7) (GPIO_ACTIVE_HIGH | GPIO_OPEN_DRAIN)>;

		i2c-gpio,delay-us = <5>;
		i2c-gpio,timeout-ms = <100>;

		#address-cells = <1>;
		#size-cells = <0>;

		max14526: muic@44 {
			compatible = "maxim,max14526";
			reg = <0x44>;

			interrupt-parent = <&gpio>;
			interrupts = <TEGRA_GPIO(U, 0) IRQ_TYPE_EDGE_FALLING>;

			muic_con: connector {
				compatible = "usb-b-connector";
				label = "micro-USB";
				type = "micro";
			};

			port {
				#address-cells = <1>;
				#size-cells = <0>;

//				muic_to_charger: endpoint@0 {
//					reg = <0>;
//					remote-endpoint = <&charger_input>;
//				};
			};
		};
	};

	i2c-bl-dcdc {
		compatible = "i2c-gpio";

		sda-gpios = <&gpio TEGRA_GPIO(Q, 0) (GPIO_ACTIVE_HIGH | GPIO_OPEN_DRAIN)>;
		scl-gpios = <&gpio TEGRA_GPIO(Q, 1) (GPIO_ACTIVE_HIGH | GPIO_OPEN_DRAIN)>;

		i2c-gpio,delay-us = <5>;
		i2c-gpio,timeout-ms = <100>;

		#address-cells = <1>;
		#size-cells = <0>;

		aat2870: led-controller@60 {
			compatible = "skyworks,aat2870";
			reg = <0x60>;

			enable-gpios = <&gpio TEGRA_GPIO(R, 3) GPIO_ACTIVE_HIGH>;

			backlight {
				current-max-microamp = <27900000>;
			};
		};
	};

	brcm_wifi_pwrseq: pwrseq-wifi {
		compatible = "mmc-pwrseq-simple";

		clocks = <&tegra_pmc TEGRA_PMC_CLK_BLINK>;
		clock-names = "ext_clock";

		reset-gpios = <&gpio TEGRA_GPIO(W, 1) GPIO_ACTIVE_LOW>;
		post-power-on-delay-ms = <200>;
	};

	opp-table-emc {
		/delete-node/ opp-666000000;
		/delete-node/ opp-760000000;
	};

	// TODO: potential v_powerrail
	vdd_5v0_sys: regulator-5v0 {
		compatible = "regulator-fixed";
		regulator-name = "vdd_5v0";
		regulator-min-microvolt = <5000000>;
		regulator-max-microvolt = <5000000>;
		regulator-always-on;
	};

	// TODO: remove or convert to smth proper
	vdd_3v3_vbat: regulator-vbat {
		compatible = "regulator-fixed";
		regulator-name = "vdd_vbat";
		regulator-min-microvolt = <3300000>;
		regulator-max-microvolt = <3300000>;
		regulator-always-on;
		regulator-boot-on;
	};

	vdd_5v0_hdmi: regulator-hdmi {
		compatible = "regulator-fixed";
		regulator-name = "vcc_5v0_vga_hdmi";
		regulator-min-microvolt = <5000000>;
		regulator-max-microvolt = <5000000>;
		vin-supply = <&vdd_5v0_sys>; // TODO: set to v_powerrail
		gpio = <&gpio TEGRA_GPIO(K, 5) GPIO_ACTIVE_HIGH>;
		enable-active-high;
	};

	sound {
		compatible = "lg,tegra-audio-wm8994-star",
			     "nvidia,tegra-audio-wm8994";
		nvidia,model = "LG Optimus 2X WM8994";

		nvidia,audio-routing =
			"Headphone Jack", "HPOUT1L",
			"Headphone Jack", "HPOUT1R",
			"Int Spk", "SPKOUTLN",
			"Int Spk", "SPKOUTLP",
			"Int Spk", "SPKOUTRN",
			"Int Spk", "SPKOUTRP",
			"IN2RN", "Mic Jack",
			"IN1LN", "MICBIAS1",
			"MICBIAS1", "Internal Mic 1",
			"IN1RN", "MICBIAS2",
			"MICBIAS2", "Internal Mic 2";

		nvidia,i2s-controller = <&tegra_i2s1>;
		nvidia,audio-codec = <&wm8994>;

		// TODO: test all gpios and polarities
		nvidia,spkr-en-gpios = <&wm8994 0 GPIO_ACTIVE_HIGH>;
		nvidia,hp-mute-gpios = <&wm8994 1 GPIO_ACTIVE_LOW>;
		nvidia,hp-det-gpios = <&gpio TEGRA_GPIO(G, 3) GPIO_ACTIVE_LOW>;
		nvidia,mic-det-gpios = <&gpio TEGRA_GPIO(D, 3) GPIO_ACTIVE_LOW>;
		nvidia,int-mic-en-gpios = <&wm8994 2 GPIO_ACTIVE_HIGH>;
		nvidia,ext-mic-en-gpios = <&wm8994 3 GPIO_ACTIVE_HIGH>;
		nvidia,ear-sel-gpios = <&gpio TEGRA_GPIO(H, 1) GPIO_ACTIVE_LOW>;
		nvidia,coupled-mic-hp-det;

		clocks = <&tegra_car TEGRA20_CLK_PLL_A>,
			 <&tegra_car TEGRA20_CLK_PLL_A_OUT0>,
			 <&tegra_car TEGRA20_CLK_CDEV1>;
		clock-names = "pll_a", "pll_a_out0", "mclk";
	};

	thermal-zones {
		/*
		 * NCT1008 has two sensors:
		 *
		 *	0: internal that monitors ambient/skin temperature
		 *	1: external that is connected to the CPU's diode
		 *
		 * Ideally we should use userspace thermal governor, but
		 * it's a much more complex solution. The "skin" zone is a
		 * simpler solution which prevents the phone from getting
		 * too hot from a user's tactile perspective. The CPU zone
		 * is intended to protect silicon from damage.
		 */

		skin-thermal {
			polling-delay-passive = <1000>; /* milliseconds */
			polling-delay = <5000>; /* milliseconds */

			thermal-sensors = <&nct1008 0>;

			trips {
				trip0: skin-alert {
					/* start throttling at 60C */
					temperature = <60000>;
					hysteresis = <200>;
					type = "passive";
				};

				trip1: skin-crit {
					/* shut down at 70C */
					temperature = <70000>;
					hysteresis = <2000>;
					type = "critical";
				};
			};

			cooling-maps {
				map0 {
					trip = <&trip0>;
					cooling-device = <&cpu0 THERMAL_NO_LIMIT THERMAL_NO_LIMIT>,
							 <&cpu1 THERMAL_NO_LIMIT THERMAL_NO_LIMIT>;
				};
			};
		};

		cpu-thermal {
			polling-delay-passive = <1000>; /* milliseconds */
			polling-delay = <5000>; /* milliseconds */

			thermal-sensors = <&nct1008 1>;

			trips {
				trip2: cpu-alert {
					/* throttle at 80C until temperature drops to 79.8C */
					temperature = <80000>;
					hysteresis = <200>;
					type = "passive";
				};

				trip3: cpu-crit {
					/* shut down at 85C */
					temperature = <85000>;
					hysteresis = <2000>;
					type = "critical";
				};
			};

			cooling-maps {
				map1 {
					trip = <&trip2>;
					cooling-device = <&cpu0 THERMAL_NO_LIMIT THERMAL_NO_LIMIT>,
							 <&cpu1 THERMAL_NO_LIMIT THERMAL_NO_LIMIT>;
				};
			};
		};
	};

	/* ISA1000 motor driver */
	vibrator {
		compatible = "pwm-vibrator";

		enable-gpios = <&gpio TEGRA_GPIO(U, 4) GPIO_ACTIVE_HIGH>;

		pwms = <&pwm 0 5000>;
		pwm-names = "enable";

		direction-duty-cycle-ns = <5000>;

		vcc-supply = <&vcc_3v0_motor>;
	};
};
